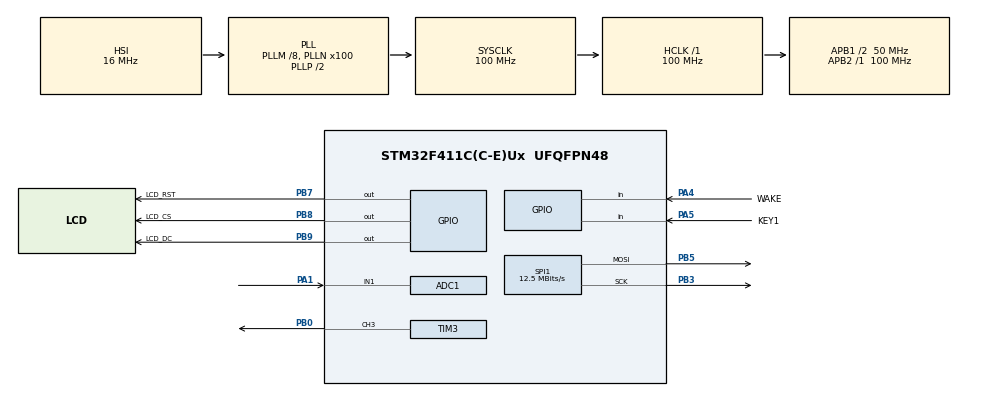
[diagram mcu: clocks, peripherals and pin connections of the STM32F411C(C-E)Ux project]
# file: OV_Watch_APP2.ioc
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ADC1.Channel-0\#ChannelRegularConversion=ADC_CHANNEL_1
ADC1.ClockPrescaler=ADC_CLOCK_SYNC_PCLK_DIV8
ADC1.EnableAnalogWatchDog=false
ADC1.NbrOfConversion=1
ADC1.NbrOfConversionFlag=1
ADC1.SamplingTime-0\#ChannelRegularConversion=ADC_SAMPLETIME_480CYCLES
ADC1.master=1
Dma.Request0=SPI1_TX
Dma.SPI1_TX.0.Direction=DMA_MEMORY_TO_PERIPH
Dma.SPI1_TX.0.FIFOMode=DMA_FIFOMODE_DISABLE
Dma.SPI1_TX.0.Instance=DMA2_Stream2
Dma.SPI1_TX.0.MemDataAlignment=DMA_MDATAALIGN_BYTE
Dma.SPI1_TX.0.MemInc=DMA_MINC_ENABLE
Dma.SPI1_TX.0.Mode=DMA_NORMAL
Dma.SPI1_TX.0.PeriphDataAlignment=DMA_PDATAALIGN_BYTE
Dma.SPI1_TX.0.PeriphInc=DMA_PINC_DISABLE
Dma.SPI1_TX.0.Priority=DMA_PRIORITY_LOW
FREERTOS.Tasks01=defaultTask,24,1024,StartDefaultTask,Default,NULL,Dynamic,NULL,NULL
FREERTOS.configRECORD_STACK_HIGH_ADDRESS=1
FREERTOS.configUSE_TRACE_FACILITY=1
Mcu.Family=STM32F4
Mcu.Name=STM32F411C(C-E)Ux
Mcu.Package=UFQFPN48
NVIC.DMA2_Stream2_IRQn=true\:5\:0\:false\:false\:true\:true\:false\:true\:true
NVIC.PriorityGroup=NVIC_PRIORITYGROUP_4
NVIC.TIM1_UP_TIM10_IRQn=true\:15\:0\:false\:false\:true\:false\:false\:true\:true
NVIC.TimeBase=TIM1_UP_TIM10_IRQn
NVIC.TimeBaseIP=TIM1
PA1.Signal=ADCx_IN1
PA13.Mode=Serial_Wire
PA13.Signal=SYS_JTMS-SWDIO
PA14.Mode=Serial_Wire
PA14.Signal=SYS_JTCK-SWCLK
PA4.GPIO_Label=WAKE
PA4.Signal=GPIO_Input
PA5.GPIO_Label=KEY1
PA5.GPIO_PuPd=GPIO_PULLUP
PA5.Signal=GPIO_Input
PB0.Signal=S_TIM3_CH3
PB3.Mode=TX_Only_Simplex_Unidirect_Master
PB3.Signal=SPI1_SCK
PB5.Mode=TX_Only_Simplex_Unidirect_Master
PB5.Signal=SPI1_MOSI
PB7.GPIO_Label=LCD_RST
PB7.PinState=GPIO_PIN_SET
PB7.Signal=GPIO_Output
PB8.GPIO_Label=LCD_CS
PB8.PinState=GPIO_PIN_SET
PB8.Signal=GPIO_Output
PB9.GPIO_Label=LCD_DC
PB9.PinState=GPIO_PIN_SET
PB9.Signal=GPIO_Output
ProjectManager.HeapSize=0x200
ProjectManager.StackSize=0x400
ProjectManager.TargetToolchain=CMake
RCC.48MHZClocksFreq_Value=50000000
RCC.AHBFreq_Value=100000000
RCC.APB1CLKDivider=RCC_HCLK_DIV2
RCC.APB1Freq_Value=50000000
RCC.APB1TimFreq_Value=100000000
RCC.APB2Freq_Value=100000000
RCC.APB2TimFreq_Value=100000000
RCC.CortexFreq_Value=100000000
RCC.HCLKFreq_Value=100000000
RCC.HSE_VALUE=25000000
RCC.HSI_VALUE=16000000
RCC.LSE_VALUE=32768
RCC.PLLM=8
RCC.PLLN=100
RCC.SYSCLKFreq_VALUE=100000000
RCC.SYSCLKSource=RCC_SYSCLKSOURCE_PLLCLK
RCC.VCOOutputFreq_Value=200000000
SH.ADCx_IN1.0=ADC1_IN1,IN1
SH.S_TIM3_CH3.0=TIM3_CH3,PWM Generation3 CH3
SPI1.BaudRatePrescaler=SPI_BAUDRATEPRESCALER_8
SPI1.CLKPhase=SPI_PHASE_2EDGE
SPI1.CLKPolarity=SPI_POLARITY_HIGH
SPI1.CalculateBaudRate=12.5 MBits/s
SPI1.Direction=SPI_DIRECTION_2LINES
SPI1.Mode=SPI_MODE_MASTER
SPI1.VirtualType=VM_MASTER
TIM3.Channel-PWM\ Generation3\ CH3=TIM_CHANNEL_3
TIM3.Period=300
TIM3.Prescaler=99
VP_FREERTOS_VS_CMSIS_V2.Mode=CMSIS_V2
VP_SYS_VS_tim1.Mode=TIM1
board=custom

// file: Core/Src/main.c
/* USER CODE BEGIN Header */
/**
  ******************************************************************************
  * @file           : main.c
  * @brief          : Main program body
  ******************************************************************************
  * @attention
  *
  * Copyright (c) 2026 STMicroelectronics.
  * All rights reserved.
  *
  * This software is licensed under terms that can be found in the LICENSE file
  * in the root directory of this software component.
  * If no LICENSE file comes with this software, it is provided AS-IS.
  *
  ******************************************************************************
  */
/* USER CODE END Header */
#include "main.h"
#include "cmsis_os.h"
#include "adc.h"
#include "dma.h"
#include "spi.h"
#include "tim.h"
#include "gpio.h"

/* USER CODE BEGIN Includes */
#include "bsp_backlight.h"
#include "bsp_battery.h"
#include "bsp_lcd.h"
/* USER CODE END Includes */

/* USER CODE BEGIN PD */
/* 测试图案的横向像素数量；它决定每一行在 lcd_pixel_test_buffer 中包含多少个颜色值。 */
#define LCD_PIXEL_TEST_WIDTH   96U
/* 测试图案的纵向像素数量；与宽度相乘得到总像素数和测试缓冲区容量。 */
#define LCD_PIXEL_TEST_HEIGHT  60U
/* 测试图案左上角的逻辑列坐标；24 让图案离屏幕左边缘留出黑色背景便于定位。 */
#define LCD_PIXEL_TEST_X       24U
/* 测试图案左上角的逻辑行坐标；40 让图案离屏幕上边缘留出黑色背景便于定位。 */
#define LCD_PIXEL_TEST_Y       40U
/*
 * 本次 DMA 连续刷新测试要提交的完整图案帧数；120 帧在 12.5 MHz SPI 下约持续 0.9 秒。
 * 数值足以重复触发 DMA 回调链，却不会让启动阶段等待过久；它只由 Lcd_RunDmaRefreshTest() 读取，
 * 后续接入 LVGL 后会删除这项诊断常量，改由真实页面刷新频率决定提交次数。
 */
#define LCD_DMA_TEST_FRAME_COUNT 120U

/* USER CODE END PD */

/* USER CODE BEGIN PV */
/* battery_raw 保存 ADC1 最近一次原始转换值，单位是 ADC 计数；volatile 防止编译器缓存被硬件更新的数据。 */
volatile uint16_t battery_raw;
/* battery_voltage 保存由原始 ADC 值换算出的电池电压，单位为 V，供后续电池状态页面使用。 */
volatile float battery_voltage;
/*
 * 本次测试图案的像素存储区：96 x 60 个 uint16_t，每个元素存一个 RGB565 颜色，
 * 共占 96 x 60 x 2 = 11520 字节（约 11.25 KB）。
 * static 使数组位于全局数据区而非 main() 的栈；图案函数填充它后，
 * 阻塞接口或 DMA 接口才能在各自整个传输期间持续读取其中的像素数据。
 */
static uint16_t lcd_pixel_test_buffer[LCD_PIXEL_TEST_WIDTH * LCD_PIXEL_TEST_HEIGHT];
/*
 * lcd_dma_test_completed_frames 记录已被 DMA 完整发送且未报告错误的图案帧数量，范围为 0 到 120。
 * 它由启动阶段的 Lcd_RunDmaRefreshTest() 写入，调试器读取；volatile 让编译器保留每次递增，
 * 便于验证连续刷新实际完成，而不是把这项仅供诊断的计数优化掉。LVGL 阶段会以刷新统计替代它。
 */
static volatile uint32_t lcd_dma_test_completed_frames;
/*
 * lcd_dma_test_cpu_work_counter 记录上一帧 DMA 仍 busy 时，CPU 执行了多少次最小非显示工作。
 * 它由主程序在轮询 busy 期间递增、调试器读取；volatile 使观察值可靠。它不是性能基准也不是业务状态，
 * 只用于证明 CPU 没有像阻塞 HAL_SPI_Transmit() 那样一直等待 SPI；后续会由 RTOS/LVGL 实际工作替代。
 */
static volatile uint32_t lcd_dma_test_cpu_work_counter;
/* USER CODE END PV */

void SystemClock_Config(void);
void MX_FREERTOS_Init(void);

/* USER CODE BEGIN 0 */
/*
 * 构造不对称图案：红色顶条、绿色左条、蓝色右中块、白色下中块。
 * 不对称形状能同时暴露行列颠倒、上下翻转和左右翻转等问题。
 */
static void Lcd_BuildPixelTestPattern(void)
{
  /* y 是正在生成的图案行号，范围为 0 到 59；外层循环每执行一次就完成一整行。 */
  for (uint16_t y = 0U; y < LCD_PIXEL_TEST_HEIGHT; ++y)
  {
    /* x 是当前行内的列号，范围为 0 到 95；内层循环决定该位置最终写入哪种颜色。 */
    for (uint16_t x = 0U; x < LCD_PIXEL_TEST_WIDTH; ++x)
    {
      /* color 是当前 (x, y) 像素的 RGB565 颜色；先设为黑色，再由条件覆盖为测试色块。 */
      uint16_t color = 0x0000U;

      /* y < 10 表示图案最上方 10 行，用红色建立容易识别的顶部方向标记。 */
      if (y < 10U)
      {
        color = 0xF800U;
      }
      /* x < 20 表示红条以下的最左侧 20 列，用绿色建立左侧方向标记。 */
      else if (x < 20U)
      {
        color = 0x07E0U;
      }
      /* x/y 范围限定右侧中部蓝块；它不与左条或顶条对称，便于发现翻转。 */
      else if ((x >= 64U) && (y >= 20U) && (y < 40U))
      {
        color = 0x001FU;
      }
      /* x/y 范围限定下方中部白块；与蓝块一起提供第二个方向参考。 */
      else if ((x >= 32U) && (x < 48U) && (y >= 40U))
      {
        color = 0xFFFFU;
      }

      /* C 数组按行优先存放：先写完一行，再进入下一行。 */
      lcd_pixel_test_buffer[y * LCD_PIXEL_TEST_WIDTH + x] = color;
    }
  }
}

/*
 * 连续提交同一块已验证图案，专门验证 DMA 的 busy 所有权状态机。
 * 每帧必须先由 Lcd_StartWritePixelsDma() 异步启动，再等 Lcd_IsDmaBusy() 变为 false；
 * 只有 HAL 的最后完成回调已经释放 DMA 缓冲区和像素源数组后，才允许提交下一帧。
 * 测试仍发生在 osKernelStart() 前，以隔离 DMA 行为；此时 cpu_work_counter 只是最小工作证据，
 * 不是正式的 FreeRTOS 并发设计。任何启动或传输失败都调用 Error_Handler() 停止，避免静默通过错误画面。
 */
static void Lcd_RunDmaRefreshTest(void)
{
  /* 每次启动测试前清零完成帧数；写入者只有本函数，调试器可在启动后验证最终值为 120。 */
  lcd_dma_test_completed_frames = 0U;
  /* 清零 CPU 工作计数器；只要 DMA 传输期间主循环仍能执行，它最终必须大于零。 */
  lcd_dma_test_cpu_work_counter = 0U;

  /*
   * 启动第一帧 DMA。true 只表示首个分块已交给 DMA，不能据此认为整帧完成；
   * lcd_pixel_test_buffer 是 static，在本函数整个运行期间有效，满足驱动对源数组生命周期的要求。
   */
  if (!Lcd_StartWritePixelsDma(LCD_PIXEL_TEST_X, LCD_PIXEL_TEST_Y,
                               LCD_PIXEL_TEST_WIDTH, LCD_PIXEL_TEST_HEIGHT,
                               lcd_pixel_test_buffer))
  {
    /* Error_Handler() 会停止程序；首帧启动失败时不允许带着未知 DMA 状态启动 FreeRTOS。 */
    Error_Handler();
  }

  /*
   * while 的退出条件是“120 帧均已完成”。循环变量使用全局诊断计数，便于在调试器中跨函数观察。
   * 在 DMA busy 期间绝不提交第二帧；这正是本步骤要验证的缓冲区所有权规则。
   */
  while (lcd_dma_test_completed_frames < LCD_DMA_TEST_FRAME_COUNT)
  {
    if (Lcd_IsDmaBusy())
    {
      /*
       * DMA 正在把当前 256 像素分块送往 SPI1；CPU 在这里执行一个无副作用的最小诊断工作。
       * 递增本身不能衡量性能，但能证明 CPU 没有被阻塞式 SPI 调用占住；不能在这里修改图案数组。
       */
      ++lcd_dma_test_cpu_work_counter;
      continue;
    }

    /* busy=false 后再检查错误结果；若错误回调曾释放事务，不能把这帧误记为成功。 */
    if (Lcd_DmaTransferFailed())
    {
      /* DMA/SPI 传输异常时停止，保留调试器中的 failed/busy 状态供排查。 */
      Error_Handler();
    }

    /* 当前帧已由最后一块完成回调确认结束，记录成功帧数；范围最多到 LCD_DMA_TEST_FRAME_COUNT。 */
    ++lcd_dma_test_completed_frames;

    if (lcd_dma_test_completed_frames < LCD_DMA_TEST_FRAME_COUNT)
    {
      /*
       * 只有上一帧 busy 已清除才提交下一帧，因此 DMA 静态字节缓冲区不会被提前覆盖。
       * 每帧重复同一图案，保证屏幕现象稳定；本步验证的是连续事务时序，而不是动画绘制。
       */
      if (!Lcd_StartWritePixelsDma(LCD_PIXEL_TEST_X, LCD_PIXEL_TEST_Y,
                                   LCD_PIXEL_TEST_WIDTH, LCD_PIXEL_TEST_HEIGHT,
                                   lcd_pixel_test_buffer))
      {
        /* 新一帧启动被 HAL 或驱动拒绝时停止，不能把“少发一帧”伪装成测试通过。 */
        Error_Handler();
      }
    }
  }
}

/* USER CODE END 0 */

int main(void)
{

  /* MCU Configuration--------------------------------------------------------*/

  /* Reset of all peripherals, Initializes the Flash interface and the Systick. */
  HAL_Init();

  /* Configure the system clock */
  SystemClock_Config();

  /* USER CODE BEGIN SysInit */

  /*
   * CubeMX 在下面的外设初始化序列中先调用 MX_DMA_Init()，再调用 MX_SPI1_Init()。
   * MX_DMA_Init() 只开启 DMA2 时钟和 DMA2_Stream2 IRQ；SPI1 的发送 DMA 句柄、字节对齐和关联在
   * spi.c 的 HAL_SPI_MspInit() 中建立。该顺序保证后续 Lcd_StartWritePixelsDma() 启动 SPI DMA 时，
   * 硬件通道已经可用且完成中断能进入 BSP 回调。此说明放在 USER CODE 区，CubeMX 重新生成时会保留。
   */

  /* USER CODE END SysInit */

  /* Initialize all configured peripherals */
  MX_GPIO_Init();
  MX_DMA_Init();
  MX_TIM3_Init();
  MX_ADC1_Init();
  MX_SPI1_Init();
  /* USER CODE BEGIN 2 */
  Backlight_Init();
  battery_raw = Battery_ReadRaw();
  battery_voltage = Battery_ReadVoltageAverage();
  Lcd_Init();
  /*
   * LCD DMA 阶段的首项实物测试：黑色清屏仍使用 V1 阻塞基线，随后异步写入同一块不对称图案。
   * 这样若图案异常，已实测通过的初始化、地址窗口、黑屏和颜色转换基线不需要重新怀疑；
   * 这次只验证 DMA 字节搬运、DMA 中断回调、CS 持续选中时序和多分块连续发送。
   */
  Lcd_FillScreen(0x0000U);//全屏填充黑色
  Lcd_BuildPixelTestPattern();
  /* 连续刷新测试内部以 busy 状态保护 120 次异步提交；返回前最后一帧已完成或已进入 Error_Handler。 */
  Lcd_RunDmaRefreshTest();
  /* USER CODE END 2 */

  /* Init scheduler */
  osKernelInitialize();  /* Call init function for freertos objects (in cmsis_os2.c) */
  MX_FREERTOS_Init();

  /* Start scheduler */
  osKernelStart();

  /* We should never get here as control is now taken by the scheduler */

  /* Infinite loop */
  while (1)
  {

  }
}

void SystemClock_Config(void)
{
  RCC_OscInitTypeDef RCC_OscInitStruct = {0};
  RCC_ClkInitTypeDef RCC_ClkInitStruct = {0};

  /** Configure the main internal regulator output voltage
  */
  __HAL_RCC_PWR_CLK_ENABLE();
  __HAL_PWR_VOLTAGESCALING_CONFIG(PWR_REGULATOR_VOLTAGE_SCALE1);

  /** Initializes the RCC Oscillators according to the specified parameters
  * in the RCC_OscInitTypeDef structure.
  */
  RCC_OscInitStruct.OscillatorType = RCC_OSCILLATORTYPE_HSI;
  RCC_OscInitStruct.HSIState = RCC_HSI_ON;
  RCC_OscInitStruct.HSICalibrationValue = RCC_HSICALIBRATION_DEFAULT;
  RCC_OscInitStruct.PLL.PLLState = RCC_PLL_ON;
  RCC_OscInitStruct.PLL.PLLSource = RCC_PLLSOURCE_HSI;
  RCC_OscInitStruct.PLL.PLLM = 8;
  RCC_OscInitStruct.PLL.PLLN = 100;
  RCC_OscInitStruct.PLL.PLLP = RCC_PLLP_DIV2;
  RCC_OscInitStruct.PLL.PLLQ = 4;
  if (HAL_RCC_OscConfig(&RCC_OscInitStruct) != HAL_OK)
  {
    Error_Handler();
  }

  /** Initializes the CPU, AHB and APB buses clocks
  */
  RCC_ClkInitStruct.ClockType = RCC_CLOCKTYPE_HCLK|RCC_CLOCKTYPE_SYSCLK
                              |RCC_CLOCKTYPE_PCLK1|RCC_CLOCKTYPE_PCLK2;
  RCC_ClkInitStruct.SYSCLKSource = RCC_SYSCLKSOURCE_PLLCLK;
  RCC_ClkInitStruct.AHBCLKDivider = RCC_SYSCLK_DIV1;
  RCC_ClkInitStruct.APB1CLKDivider = RCC_HCLK_DIV2;
  RCC_ClkInitStruct.APB2CLKDivider = RCC_HCLK_DIV1;

  if (HAL_RCC_ClockConfig(&RCC_ClkInitStruct, FLASH_LATENCY_3) != HAL_OK)
  {
    Error_Handler();
  }
}

void HAL_TIM_PeriodElapsedCallback(TIM_HandleTypeDef *htim)
{
  if (htim->Instance == TIM1)
  {
    HAL_IncTick();
  }
}

void Error_Handler(void)
{
  __disable_irq();
  while (1)
  {
  }
}

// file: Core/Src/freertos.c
/* USER CODE BEGIN Header */
/**
  ******************************************************************************
  * File Name          : freertos.c
  * Description        : Code for freertos applications
  ******************************************************************************
  * @attention
  *
  * Copyright (c) 2026 STMicroelectronics.
  * All rights reserved.
  *
  * This software is licensed under terms that can be found in the LICENSE file
  * in the root directory of this software component.
  * If no LICENSE file comes with this software, it is provided AS-IS.
  *
  ******************************************************************************
  */
/* USER CODE END Header */

#include "FreeRTOS.h"
#include "task.h"
#include "main.h"
#include "cmsis_os.h"

/* USER CODE BEGIN Includes */
#include "bsp_key.h"
#include "app_lvgl_demo.h"
#include "lv_port_disp.h"
#include "lvgl.h"

/* USER CODE END Includes */

/* USER CODE BEGIN PD */

/*
 * 默认 UI 任务可使用的栈容量，单位为 32-bit word；1024 words 在 STM32F411 上等于 4096 B。
 * StartDefaultTask() 要执行 LVGL 的对象创建、布局、绘制、SPI 刷新和 FreeRTOS 延时，原来的
 * 128 words/512 B 已实测会向下覆盖相邻的 FreeRTOS 定时器任务控制块并导致 PendSV HardFault。
 * 该常量由 defaultTask_attributes 读取，CubeMX 的 .ioc 中也保存相同的 1024-word 配置；后续应
 * 依据 default_task_stack_min_free_words 的实测最小余量调整，而不是凭感觉继续增减。
 */
#define APP2_DEFAULT_TASK_STACK_WORDS  (1024U)

/* USER CODE END PD */

/* USER CODE BEGIN Variables */
volatile bool key1_pressed;
volatile bool wake_key_pressed;
/*
 * default_task_stack_min_free_words 保存 defaultTask 自启动以来剩余栈空间的历史最小值，单位为
 * FreeRTOS StackType_t word（本 MCU 为 4 B）。它只由 StartDefaultTask() 写入，调试器读取；
 * 值越小表示越接近栈底，0 表示已经没有可证明的余量。它是运行时诊断量，不参与页面业务逻辑。
 */
volatile UBaseType_t default_task_stack_min_free_words;
/*
 * rtos_stack_overflow_detected 是 FreeRTOS 检测到任务栈越界后的冻结标记。栈溢出钩子写入 true，
 * 调试器读取；正常运行时保持 false。它不尝试恢复已经不可信的任务上下文，只留下可定位证据。
 */
volatile bool rtos_stack_overflow_detected;
/*
 * rtos_stack_overflow_task_name 指向触发栈溢出检测的任务名字符串。钩子写入、调试器读取；字符串
 * 由 FreeRTOS TCB 持有，任务存在期间有效。它只用于故障定位，不能作为跨任务通信数据。
 */
volatile const char *rtos_stack_overflow_task_name;

/* USER CODE END Variables */
/* Definitions for defaultTask */
osThreadId_t defaultTaskHandle;
const osThreadAttr_t defaultTask_attributes = {
  .name = "defaultTask",
  /* CMSIS-RTOS2 的 stack_size 单位为字节，因此把上面的 word 数乘以 sizeof(uint32_t)。 */
  .stack_size = APP2_DEFAULT_TASK_STACK_WORDS * sizeof(uint32_t),
  .priority = (osPriority_t) osPriorityNormal,
};

void StartDefaultTask(void *argument);

void MX_FREERTOS_Init(void); /* (MISRA C 2004 rule 8.1) */

void MX_FREERTOS_Init(void) {

  /* Create the thread(s) */
  /* creation of defaultTask */
  defaultTaskHandle = osThreadNew(StartDefaultTask, NULL, &defaultTask_attributes);

}

void StartDefaultTask(void *argument)
{
  /* USER CODE BEGIN StartDefaultTask */
  /*
   * lv_init() 初始化 LVGL 的对象、样式、内存和内部定时器系统；必须只执行一次，且先于所有 lv_obj_* 调用。
   * 它不初始化 SPI 或 LCD，main.c 已在启动调度器前完成 Lcd_Init()；调用成功只表示图形库状态可用，不表示画面已显示。
   */
  lv_init();
  /* LvPortDisp_Init() 注册 240 x 280 的单缓冲显示设备和阻塞 flush_cb；它必须晚于 lv_init()。 */
  LvPortDisp_Init();
  /* AppLvglDemo_Create() 创建当前唯一的测试页面和 1 秒 LVGL 软件定时器；此后不能由其他任务直接修改这些对象。 */
  AppLvglDemo_Create();

  /*
   * uxTaskGetStackHighWaterMark(NULL) 查询当前 defaultTask 历史上最少剩余的栈 word 数；NULL 表示
   * 当前调用任务。它只读取 FreeRTOS 的栈填充标记，不会分配内存也不会修复溢出，必须在任务上下文
   * 调用。初始化后立即记录一次，建立 UI 创建阶段的栈余量基线。
   */
  default_task_stack_min_free_words = uxTaskGetStackHighWaterMark(NULL);

  /* Infinite loop */
  for(;;)
  {
    /* key1_pressed 保存 KEY1 当前轮询状态；按键尚未接入 LVGL 输入设备，本阶段仅保留既有读取行为。 */
    key1_pressed = Key1_IsPressed();
    /* wake_key_pressed 保存 WAKE 当前轮询状态；它同样尚未参与 LVGL 事件分发。 */
    wake_key_pressed = WakeKey_IsPressed();

    /*
     * lv_timer_handler() 在唯一 UI 任务中处理 LVGL 软件定时器、dirty 区域绘制和 flush_cb 调用，并返回建议的下次处理间隔。
     * LVGL 的时间来自 lv_conf.h 中的 HAL_GetTick()，本调用不应放入中断；返回 0 只表示尽快再运行，仍要至少 osDelay(1) 让出 CPU。
     */
    uint32_t lvgl_next_delay_ms = lv_timer_handler();
    /*
     * 再次读取历史最小余量，使调试器能看到包括本轮 LVGL 绘制和 flush 调用在内的最深栈使用量。
     * 这个 API 的返回值是“历史最低剩余量”而非瞬时可用量，所以数值只会保持或减小，便于稳定判断。
     */
    default_task_stack_min_free_words = uxTaskGetStackHighWaterMark(NULL);
    /* 将较长建议延迟限制为 10 ms，既避免空转，也让按键轮询和页面刷新保持较低响应延迟。 */
    if (lvgl_next_delay_ms > 10U)
    {
      lvgl_next_delay_ms = 10U;
    }
    /* CMSIS-RTOS2 的 osDelay() 以毫秒为单位阻塞当前任务而非整个 MCU；0 会变成 1，保证不忙等。 */
    osDelay((lvgl_next_delay_ms == 0U) ? 1U : lvgl_next_delay_ms);
  }
  /* USER CODE END StartDefaultTask */
}

/*
 * FreeRTOS 在任务切换边界发现栈填充区被破坏时调用此钩子。
 * xTask 是发生越界的任务句柄，pcTaskName 是该任务控制块内的名称；本工程只记录名称和故障标记后
 * 关闭中断并停止，原因是继续调度可能会使用已损坏的 TCB 或返回地址，掩盖最初错误。该钩子不是
 * 异常恢复机制；它的作用是把“随机 HardFault”收敛为可重复观察的任务栈问题。
 */
void vApplicationStackOverflowHook(TaskHandle_t xTask, char *pcTaskName)
{
  /* 当前诊断不需要再解引用任务句柄；保留参数是 FreeRTOS 规定的回调签名。 */
  (void)xTask;
  /* 写入顺序使调试器先能确认故障，再读取对应任务名。 */
  rtos_stack_overflow_detected = true;
  rtos_stack_overflow_task_name = pcTaskName;
  /* taskDISABLE_INTERRUPTS() 禁止可屏蔽中断，防止已损坏的调度状态继续产生任务切换。 */
  taskDISABLE_INTERRUPTS();
  for (;;)
  {
    /* 故障后留在此处供 ARM GDB/CLion 读取诊断变量；不返回 FreeRTOS。 */
  }
}
